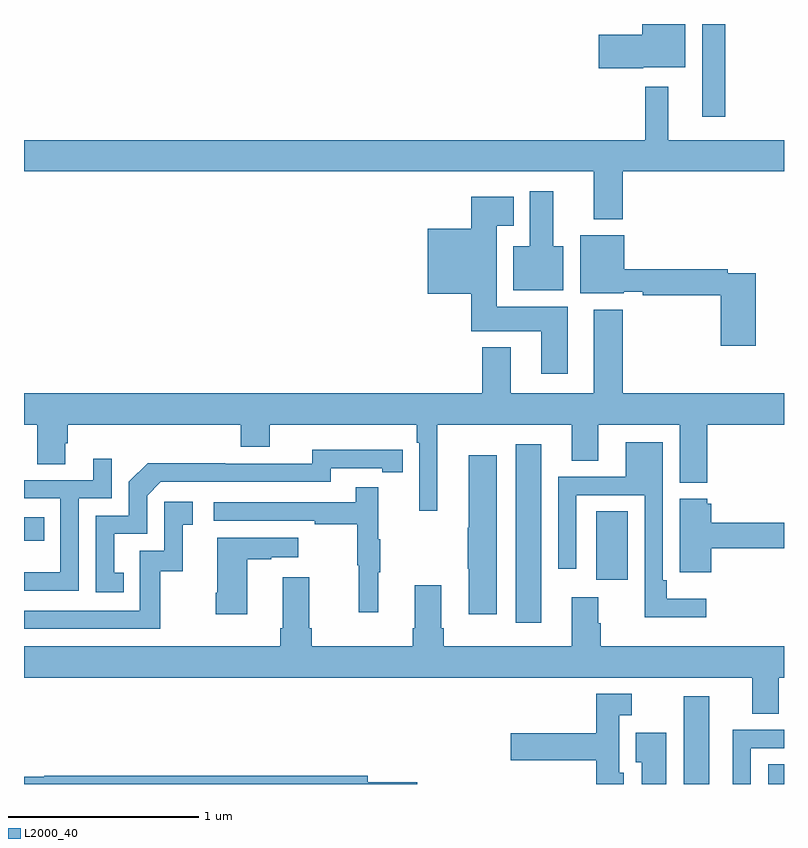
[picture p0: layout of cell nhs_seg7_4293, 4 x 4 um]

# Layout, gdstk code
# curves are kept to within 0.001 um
import gdstk
lib = gdstk.Library(unit=1e-6, precision=1e-09)
def R(c, l, rs):  # rectangles x0, y0, x1, y1
    for r in rs: c.add(gdstk.rectangle(r[:2], r[2:], *l))
def P(c, l, *ps):  # polygons
    for p in ps: c.add(gdstk.Polygon(p, *l))
L2000_40 = (2000, 40)

nhs_seg7_4293 = lib.new_cell('nhs_seg7_4293')
R(nhs_seg7_4293, L2000_40, [(384.473,1056,384.607,1056.463), (384.917,1056,385,1056.104), (383.588,1056.849,383.722,1057.789), (384.011,1057.074,384.178,1057.436), (381,1057.281,381.107,1057.404), (384.569,1059.513,384.691,1060)])
P(nhs_seg7_4293, L2000_40, [(384.258,1059.773),(384.481,1059.773),(384.481,1060),(384.254,1060),(384.254,1059.944),(384.024,1059.944),(384.024,1059.766),(384.258,1059.766)],
  [(384.152,1059.224),(385,1059.224),(385,1059.388),(384.391,1059.388),(384.391,1059.67),(384.27,1059.67),(384.27,1059.388),(381,1059.388),(381,1059.224),(383.999,1059.224),(383.999,1058.972),(384.152,1058.972)],
  [(383.839,1058.83),(383.785,1058.83),(383.785,1059.121),(383.663,1059.121),(383.663,1058.83),(383.576,1058.83),(383.576,1058.6),(383.839,1058.6)],
  [(383.863,1058.512),(383.488,1058.512),(383.488,1058.939),(383.578,1058.939),(383.578,1059.091),(383.354,1059.091),(383.354,1058.923),(383.126,1058.923),(383.126,1058.579),(383.354,1058.579),(383.354,1058.384),(383.723,1058.384),(383.723,1058.16),(383.863,1058.16)],
  [(384.851,1058.688),(384.704,1058.688),(384.704,1058.708),(384.16,1058.708),(384.16,1058.887),(383.927,1058.887),(383.927,1058.582),(384.156,1058.582),(384.156,1058.592),(384.256,1058.592),(384.256,1058.572),(384.668,1058.572),(384.668,1058.307),(384.851,1058.307)],
  [(383.176,1057.892),(383.882,1057.892),(383.882,1057.702),(384.022,1057.702),(384.022,1057.892),(384.452,1057.892),(384.452,1057.586),(384.596,1057.586),(384.596,1057.892),(385,1057.892),(385,1058.056),(384.152,1058.056),(384.152,1058.497),(383.999,1058.497),(383.999,1058.056),(383.563,1058.056),(383.563,1058.299),(383.411,1058.299),(383.411,1058.056),(381,1058.056),(381,1057.892),(381.07,1057.892),(381.07,1057.684),(381.217,1057.684),(381.217,1057.794),(381.23,1057.794),(381.23,1057.892),(382.142,1057.892),(382.142,1057.775),(382.294,1057.775),(382.294,1057.892),(383.066,1057.892),(383.066,1057.796),(383.079,1057.796),(383.079,1057.437),(383.176,1057.437)],
  [(384.592,1056.976),(384.383,1056.976),(384.383,1057.072),(384.363,1057.072),(384.363,1057.798),(384.167,1057.798),(384.167,1057.617),(383.811,1057.617),(383.811,1057.134),(383.907,1057.134),(383.907,1057.521),(384.267,1057.521),(384.267,1056.878),(384.592,1056.878)],
  [(381.524,1057.113),(381.475,1057.113),(381.475,1057.317),(381.648,1057.317),(381.648,1057.518),(381.72,1057.59),(382.614,1057.59),(382.614,1057.662),(382.886,1057.662),(382.886,1057.642),(382.994,1057.642),(382.994,1057.758),(382.518,1057.759),(382.518,1057.686),(382.058,1057.686),(382.058,1057.688),(381.65,1057.688),(381.552,1057.59),(381.552,1057.413),(381.378,1057.413),(381.378,1057.008),(381.524,1057.008)],
  [(383.488,1057.729),(383.342,1057.729),(383.342,1057.349),(383.335,1057.349),(383.335,1057.132),(383.342,1057.132),(383.342,1056.894),(383.488,1056.894)],
  [(381.288,1057.503),(381.462,1057.503),(381.462,1057.711),(381.365,1057.711),(381.365,1057.599),(381,1057.599),(381,1057.503),(381.192,1057.503),(381.192,1057.114),(381,1057.114),(381,1057.017),(381.288,1057.017)],
  [(382.865,1057.115),(382.876,1057.115),(382.876,1057.289),(382.865,1057.289),(382.865,1057.561),(382.747,1057.561),(382.747,1057.482),(381.999,1057.482),(381.999,1057.386),(382.531,1057.386),(382.531,1057.366),(382.755,1057.366),(382.755,1057.152),(382.762,1057.152),(382.762,1056.903),(382.865,1056.903)],
  [(384.616,1057.24),(385,1057.24),(385,1057.376),(384.616,1057.376),(384.616,1057.476),(384.597,1057.476),(384.597,1057.501),(384.452,1057.501),(384.452,1057.115),(384.616,1057.115)],
  [(381.718,1057.119),(381.836,1057.119),(381.836,1057.365),(381.889,1057.365),(381.889,1057.486),(381.738,1057.486),(381.738,1057.227),(381.609,1057.227),(381.609,1056.912),(381,1056.912),(381,1056.816),(381.718,1056.816)],
  [(382.174,1057.183),(382.301,1057.183),(382.301,1057.193),(382.444,1057.193),(382.444,1057.297),(382.016,1057.297),(382.016,1057.006),(382.009,1057.006),(382.009,1056.894),(382.174,1056.894)],
  [(384.973,1056.56),(385,1056.56),(385,1056.724),(384.035,1056.724),(384.035,1056.845),(384.022,1056.845),(384.022,1056.982),(383.882,1056.982),(383.882,1056.724),(383.21,1056.724),(383.21,1056.82),(383.197,1056.82),(383.197,1057.045),(383.057,1057.045),(383.057,1056.82),(383.045,1056.82),(383.045,1056.724),(382.514,1056.724),(382.514,1056.82),(382.501,1056.82),(382.501,1057.087),(382.361,1057.087),(382.361,1056.82),(382.349,1056.82),(382.349,1056.724),(381,1056.724),(381,1056.56),(384.833,1056.56),(384.833,1056.37),(384.973,1056.37)],
  [(384.157,1056.06),(384.133,1056.06),(384.133,1056.362),(384.199,1056.362),(384.199,1056.475),(384.012,1056.475),(384.012,1056.267),(383.562,1056.267),(383.562,1056.125),(384.012,1056.125),(384.012,1056),(384.157,1056)],
  [(384.825,1056.189),(385,1056.189),(385,1056.285),(384.729,1056.285),(384.729,1056),(384.825,1056)],
  [(384.379,1056.271),(384.221,1056.271),(384.221,1056.115),(384.251,1056.115),(384.251,1056),(384.379,1056)],
  [(383.071,1056.008),(382.81,1056.008),(382.81,1056.044),(381.106,1056.044),(381.106,1056.037),(381,1056.037),(381,1056),(383.071,1056)])

lib.write_gds('nhs_seg7_4293.gds')
